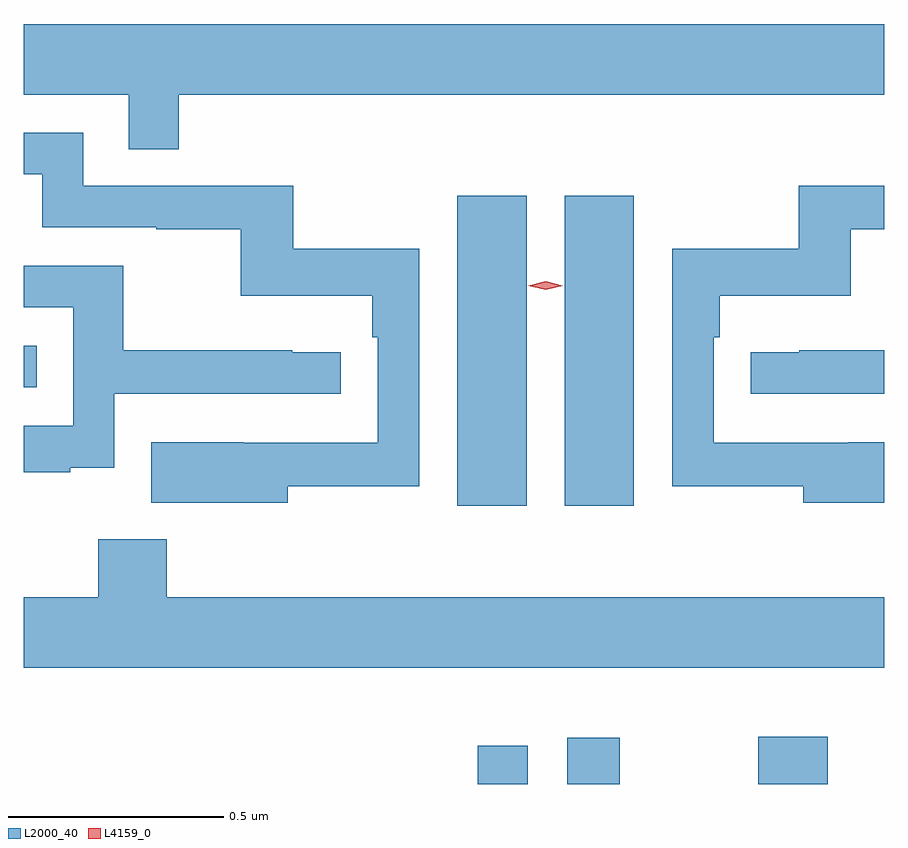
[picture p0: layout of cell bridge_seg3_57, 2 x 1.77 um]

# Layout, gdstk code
import gdstk
lib = gdstk.Library(unit=1e-6, precision=1e-09)
def R(c, l, rs):  # rectangles x0, y0, x1, y1
    for r in rs: c.add(gdstk.rectangle(r[:2], r[2:], *l))
def P(c, l, *ps):  # polygons
    for p in ps: c.add(gdstk.Polygon(p, *l))
L2000_40 = (2000, 40)
L4159_0 = (4159, 0)

bridge_seg3_57 = lib.new_cell('bridge_seg3_57')
R(bridge_seg3_57, L2000_40, [(1070.914,680.666,1071.03,680.755), (1071.122,680.666,1071.244,680.773), (1071.566,680.666,1071.727,680.776), (1070.867,681.312,1071.028,682.033), (1071.116,681.312,1071.277,682.033), (1069.859,681.588,1069.889,681.684)])
P(bridge_seg3_57, L2000_40, [(1070.219,682.268),(1071.859,682.268),(1071.859,682.432),(1069.859,682.432),(1069.859,682.268),(1070.103,682.268),(1070.103,682.141),(1070.219,682.141)],
  [(1070.473,681.358),(1070.778,681.358),(1070.778,681.91),(1070.485,681.91),(1070.485,682.056),(1069.998,682.056),(1069.998,682.179),(1069.859,682.179),(1069.859,682.083),(1069.902,682.083),(1069.902,681.96),(1070.167,681.96),(1070.167,681.955),(1070.364,681.955),(1070.364,681.8),(1070.669,681.8),(1070.669,681.704),(1070.682,681.704),(1070.682,681.459),(1070.369,681.459),(1070.369,681.46),(1070.155,681.46),(1070.155,681.32),(1070.473,681.32)],
  [(1071.859,681.46),(1071.775,681.46),(1071.775,681.459),(1071.462,681.459),(1071.462,681.704),(1071.476,681.704),(1071.476,681.8),(1071.781,681.8),(1071.781,681.955),(1071.859,681.955),(1071.859,682.056),(1071.66,682.056),(1071.66,681.91),(1071.366,681.91),(1071.366,681.358),(1071.671,681.358),(1071.671,681.32),(1071.859,681.32)],
  [(1069.967,681.401),(1070.07,681.401),(1070.07,681.573),(1070.596,681.573),(1070.596,681.669),(1070.483,681.669),(1070.483,681.674),(1070.09,681.674),(1070.09,681.87),(1069.859,681.87),(1069.859,681.774),(1069.974,681.774),(1069.974,681.498),(1069.859,681.498),(1069.859,681.39),(1069.967,681.39)],
  [(1071.859,681.674),(1071.661,681.674),(1071.661,681.669),(1071.549,681.669),(1071.549,681.573),(1071.859,681.573)],
  [(1071.859,681.1),(1070.192,681.1),(1070.192,681.235),(1070.032,681.235),(1070.032,681.1),(1069.859,681.1),(1069.859,680.936),(1071.859,680.936)])
P(bridge_seg3_57, L4159_0, [(1071.072,681.814),(1071.032,681.824),(1071.032,681.824),(1071.032,681.824),(1071.072,681.834),(1071.112,681.824),(1071.112,681.824),(1071.112,681.824)])

lib.write_gds('bridge_seg3_57.gds')
